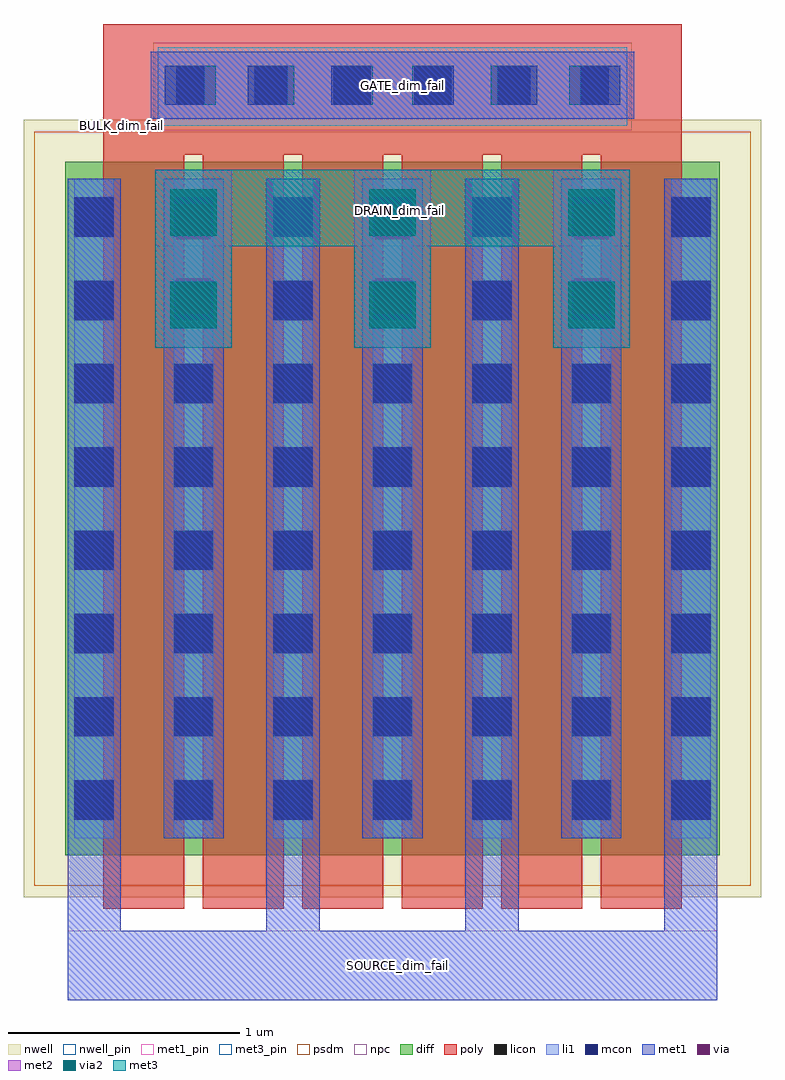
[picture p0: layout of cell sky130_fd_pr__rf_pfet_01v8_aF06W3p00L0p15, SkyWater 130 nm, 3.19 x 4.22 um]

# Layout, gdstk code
import gdstk
lib = gdstk.Library(unit=1e-6, precision=1e-09)
def R(c, l, rs):  # rectangles x0, y0, x1, y1
    for r in rs: c.add(gdstk.rectangle(r[:2], r[2:], *l))
def A(c, l, x, y, w, h, nx, ny, dx, dy):  # array of equal rectangles
    R(c, l, [(x+i*dx, y+j*dy, x+i*dx+w, y+j*dy+h) for i in range(nx) for j in range(ny)])
def P(c, l, *ps):  # polygons
    for p in ps: c.add(gdstk.Polygon(p, *l))
nwell_pin = (64, 16)
nwell = (64, 20)
diff = (65, 20)
poly = (66, 20)
licon = (66, 44)
li1 = (67, 20)
mcon = (67, 44)
met1_pin = (68, 16)
met1 = (68, 20)
via = (68, 44)
met2 = (69, 20)
via2 = (69, 44)
met3_pin = (70, 16)
met3 = (70, 20)
psdm = (94, 20)
npc = (95, 20)

sky130_fd_pr__rf_pfet_01 = lib.new_cell('sky130_fd_pr__rf_pfet_01v8_aF06W3p00L0p15')
R(sky130_fd_pr__rf_pfet_01, nwell_pin, [(0.415,3.315,0.435,3.355)])
R(sky130_fd_pr__rf_pfet_01, nwell, [(0,0,3.19,3.36)])
A(sky130_fd_pr__rf_pfet_01, diff, 0.445, 0.18, 0.15, 3, 6, 1, 0.43, 0)
A(sky130_fd_pr__rf_pfet_01, diff, 1.025, 0.18, 0.28, 3, 3, 1, 0.43, 0)
R(sky130_fd_pr__rf_pfet_01, diff, [(0.18,0.18,0.445,3.18), (0.21,0.18,0.445,3.18), (0.595,0.18,0.875,3.18), (1.025,0.18,1.305,3.18), (1.055,0.18,1.305,3.18), (1.885,0.18,2.165,3.18), (1.915,0.18,2.165,3.18), (2.315,0.18,2.595,3.18), (2.745,0.18,3.01,3.18), (2.745,0.18,3.01,3.18), (2.775,0.18,3.01,3.18)])
P(sky130_fd_pr__rf_pfet_01, poly, [(0.345,-0.05),(0.345,3.775),(2.845,3.775),(2.845,-0.05),(2.495,-0.05),(2.495,3.21),(2.415,3.21),(2.415,-0.05),(2.065,-0.05),(2.065,3.21),(1.985,3.21),(1.985,-0.05),(1.635,-0.05),(1.635,3.21),(1.555,3.21),(1.555,-0.05),(1.205,-0.05),(1.205,3.21),(1.125,3.21),(1.125,-0.05),(0.775,-0.05),(0.775,3.21),(0.695,3.21),(0.695,-0.05)])
A(sky130_fd_pr__rf_pfet_01, licon, 0.22, 0.335, 0.17, 0.17, 7, 8, 0.43, 0.36)
A(sky130_fd_pr__rf_pfet_01, licon, 0.66, 3.425, 0.17, 0.17, 6, 1, 0.34, 0)
A(sky130_fd_pr__rf_pfet_01, li1, 0.22, 0.255, 0.17, 2.85, 7, 1, 0.43, 0)
R(sky130_fd_pr__rf_pfet_01, li1, [(0.58,3.335,2.61,3.675), (0.61,3.425,2.58,3.595)])
A(sky130_fd_pr__rf_pfet_01, mcon, 0.22, 0.335, 0.17, 0.17, 7, 8, 0.43, 0.36)
A(sky130_fd_pr__rf_pfet_01, mcon, 0.61, 3.425, 0.17, 0.17, 6, 1, 0.36, 0)
R(sky130_fd_pr__rf_pfet_01, met1_pin, [(0.19,-0.445,3,-0.145), (0.55,3.365,2.64,3.655)])
R(sky130_fd_pr__rf_pfet_01, met1, [(0.55,3.365,2.64,3.655)])
A(sky130_fd_pr__rf_pfet_01, via, 0.66, 2.525, 0.15, 0.15, 3, 2, 0.86, 0.32)
A(sky130_fd_pr__rf_pfet_01, met2, 0.57, 2.375, 0.33, 0.77, 3, 1, 0.86, 0)
A(sky130_fd_pr__rf_pfet_01, met2, 0.605, 2.44, 0.26, 0.64, 3, 1, 0.86, 0)
A(sky130_fd_pr__rf_pfet_01, via2, 0.635, 2.46, 0.2, 0.2, 3, 2, 0.86, 0.4)
R(sky130_fd_pr__rf_pfet_01, met3_pin, [(0.57,2.815,2.62,3.145)])
A(sky130_fd_pr__rf_pfet_01, met3, 0.57, 2.375, 0.33, 0.77, 3, 1, 0.86, 0)
A(sky130_fd_pr__rf_pfet_01, psdm, 0.465, 0.05, 0.54, 3.26, 5, 1, 0.43, 0)
A(sky130_fd_pr__rf_pfet_01, psdm, 0.625, 0.05, 0.4, 3.26, 5, 1, 0.43, 0)
R(sky130_fd_pr__rf_pfet_01, psdm, [(0.045,0.05,0.575,3.31), (0.21,0.05,0.595,3.31), (2.615,0.05,3.145,3.31)])
R(sky130_fd_pr__rf_pfet_01, npc, [(0.56,3.315,2.63,3.695)])
sky130_fd_pr__rf_pfet_01.add(gdstk.FlexPath([(0.57,2.98),(2.62,2.98)], 0.33, ends="flush", simple_path=True, layer=70, datatype=20))  # met3
sky130_fd_pr__rf_pfet_01.add(gdstk.FlexPath([(2.885,3.105),(2.885,-0.445)], 0.23, ends="flush", simple_path=True, layer=68, datatype=20))  # met1
sky130_fd_pr__rf_pfet_01.add(gdstk.FlexPath([(2.025,3.105),(2.025,-0.445)], 0.23, ends="flush", simple_path=True, layer=68, datatype=20))  # met1
sky130_fd_pr__rf_pfet_01.add(gdstk.FlexPath([(1.165,3.105),(1.165,-0.445)], 0.23, ends="flush", simple_path=True, layer=68, datatype=20))  # met1
sky130_fd_pr__rf_pfet_01.add(gdstk.FlexPath([(2.455,3.105),(2.455,0.255)], 0.26, ends="flush", simple_path=True, layer=68, datatype=20))  # met1
sky130_fd_pr__rf_pfet_01.add(gdstk.FlexPath([(1.595,3.105),(1.595,0.255)], 0.26, ends="flush", simple_path=True, layer=68, datatype=20))  # met1
sky130_fd_pr__rf_pfet_01.add(gdstk.FlexPath([(0.735,3.105),(0.735,0.255)], 0.26, ends="flush", simple_path=True, layer=68, datatype=20))  # met1
sky130_fd_pr__rf_pfet_01.add(gdstk.FlexPath([(0.305,3.105),(0.305,-0.445)], 0.23, ends="flush", simple_path=True, layer=68, datatype=20))  # met1
sky130_fd_pr__rf_pfet_01.add(gdstk.FlexPath([(0.19,-0.295),(3,-0.295)], 0.3, ends="flush", simple_path=True, layer=68, datatype=20))  # met1
sky130_fd_pr__rf_pfet_01.add(gdstk.Label('DRAIN_dim_fail', (1.625,2.97), layer=70, texttype=16))
sky130_fd_pr__rf_pfet_01.add(gdstk.Label('GATE_dim_fail', (1.64,3.51), layer=68, texttype=16))
sky130_fd_pr__rf_pfet_01.add(gdstk.Label('SOURCE_dim_fail', (1.615,-0.295), layer=68, texttype=16))
sky130_fd_pr__rf_pfet_01.add(gdstk.Label('BULK_dim_fail', (0.425,3.335), layer=64, texttype=5))

lib.write_gds('sky130_fd_pr__rf_pfet_01v8_aF06W3p00L0p15.gds')
